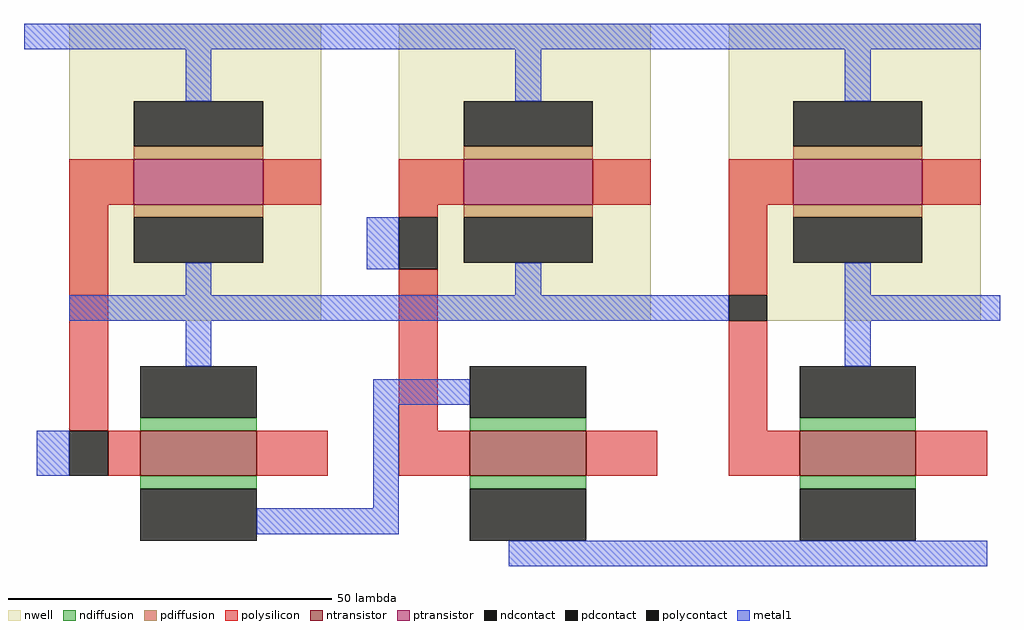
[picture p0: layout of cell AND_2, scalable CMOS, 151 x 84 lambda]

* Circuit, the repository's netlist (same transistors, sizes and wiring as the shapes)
* SPICE3 file created from AND_2.ext - technology: scmos

.option scale=0.09u

M1000 VDD A a_9_10# w_n1_1# pfet w=20 l=7
+  ad=540 pd=174 as=360 ps=116
M1001 a_9_10# A a_10_n33# Gnd nfet w=18 l=7
+  ad=180 pd=56 as=360 ps=112
M1002 VDD a_9_10# OUT w_101_1# pfet w=20 l=7
+  ad=0 pd=0 as=180 ps=58
M1003 a_10_n33# B GND Gnd nfet w=18 l=7
+  ad=0 pd=0 as=360 ps=112
M1004 VDD B a_9_10# w_50_1# pfet w=20 l=7
+  ad=0 pd=0 as=0 ps=0
M1005 OUT a_9_10# GND Gnd nfet w=18 l=7
+  ad=180 pd=56 as=0 ps=0

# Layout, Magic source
magic
tech scmos
<< nwell >>
rect -1 1 38 47
rect 50 1 89 47
rect 101 1 140 47
<< ntransistor >>
rect 10 -23 28 -16
rect 61 -23 79 -16
rect 112 -23 130 -16
<< ptransistor >>
rect 9 19 29 26
rect 60 19 80 26
rect 111 19 131 26
<< ndiffusion >>
rect 10 -16 28 -14
rect 61 -16 79 -14
rect 112 -16 130 -14
rect 10 -25 28 -23
rect 61 -25 79 -23
rect 112 -25 130 -23
<< pdiffusion >>
rect 9 26 29 28
rect 60 26 80 28
rect 111 26 131 28
rect 9 17 29 19
rect 60 17 80 19
rect 111 17 131 19
<< ndcontact >>
rect 10 -14 28 -6
rect 61 -14 79 -6
rect 112 -14 130 -6
rect 10 -33 28 -25
rect 61 -33 79 -25
rect 112 -33 130 -25
<< pdcontact >>
rect 9 28 29 35
rect 60 28 80 35
rect 111 28 131 35
rect 9 10 29 17
rect 60 10 80 17
rect 111 10 131 17
<< polysilicon >>
rect -1 19 9 26
rect 29 19 38 26
rect 50 19 60 26
rect 80 19 89 26
rect 101 19 111 26
rect 131 19 140 26
rect -1 -16 5 19
rect 50 17 56 19
rect 50 -16 56 9
rect 101 5 107 19
rect 101 -16 107 1
rect 5 -23 10 -16
rect 28 -23 39 -16
rect 50 -23 61 -16
rect 79 -23 90 -16
rect 101 -23 112 -16
rect 130 -23 141 -16
<< polycontact >>
rect 50 9 56 17
rect 101 1 107 5
rect -1 -23 5 -16
<< metal1 >>
rect -8 43 140 47
rect 17 35 21 43
rect 68 35 72 43
rect 119 35 123 43
rect 17 5 21 10
rect 45 9 50 17
rect 68 5 72 10
rect 119 5 123 10
rect -1 1 101 5
rect 119 1 143 5
rect 17 -6 21 1
rect 119 -6 123 1
rect 46 -12 61 -8
rect -6 -23 -1 -16
rect 46 -28 50 -12
rect 28 -32 50 -28
rect 67 -37 141 -33
<< end >>
